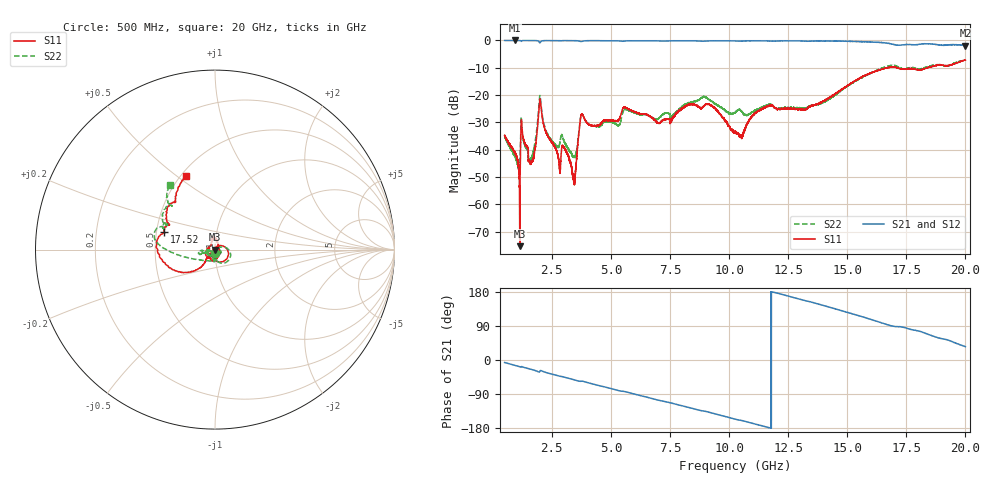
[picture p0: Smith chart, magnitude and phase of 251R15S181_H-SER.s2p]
!{251R15S181}
!Johanson Technology Inc.
!www.johansontechnology.com
!Test Board Conditions:
!Substrate Type  RO4350B
!Substrate Thickness  20 mil
!Substrate Dk  3.66
!TL Type: GCPW
!TL Trace Width  34 mil
!TL Gap  10 mil
!Electrode orientation  Horizontal
!DUT TOPOLOGY	SERIES
!Mounting Pad LxW  26x52 mil
! Created Thu Mar 12 16:55:56 2020
# mhz S ma R 50
! 2 Port Network Data from SP1.SP block
! freq  magS11  angS11  magS21  angS21  magS12  angS12  magS22  angS22
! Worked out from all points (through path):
!   19501 points, 500 MHz to 20 GHz, reference 50 ohm
!   highest |S21| = -0.01 dB at 943 MHz (marker M1); lowest = -1.9 dB at 20 GHz (marker M2)
!   group delay of S21, straight-line fit = 44.5 ps
!   lowest |S11| = -75.3 dB at 1.142 GHz (marker M3), VSWR 1.00, Z = 50 - j0.000864 ohm
!   |S11| at or under -10 dB: start of sweep to 16.69 GHz; 16.69882 GHz to 16.7006 GHz (1.776 MHz wide, 0.0106 % of centre); 17.12 GHz to 18.39 GHz (1.273 GHz wide, 7.17 % of centre) (the widest 3 of 7)
!   |S22| runs from -47.3 to -7.2 dB; largest |S21 - S12| = 0.02
!   S11 on the Smith chart (normalised r, x): 500 MHz: 0.99, -0.04; 17.52 GHz: 0.55, +0.12; 20 GHz: 0.53, +0.54
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500  0.01818 -98.6  0.9984 -6.6  0.9982 -6.6  0.01749 -93.8
943  0.008563 -116.6  0.9992 -14.0  0.9976 -14.0  0.007602 -85.0
1069  0.005794 -125.4  0.9964 -16.1  0.9972 -16.1  0.004994 -63.0
1142  0.0001721 -177.1  0.9953 -17.5  0.9948 -17.5  0.005593 -1.4
1278  0.01737 -109.6  0.9949 -18.7  0.9954 -18.7  0.0165 -90.4
1625  0.00573 154.2  0.9968 -24.7  0.9964 -24.7  0.006875 -14.8
2020  0.07384 -70.4  0.9333 -27.8  0.9331 -27.7  0.085 -63.7
2431  0.01533 -155.5  0.9949 -36.1  0.9948 -36.1  0.01587 -92.9
2797  0.005988 -173.3  0.9929 -42.1  0.9925 -42.1  0.01153 -69.8
3036  0.01062 -153.4  0.9927 -45.4  0.993 -45.5  0.01389 -98.2
3432  0.003032 -115.0  0.9919 -52.1  0.9906 -52.0  0.007417 -82.9
3750  0.04413 -81.0  0.9548 -56.0  0.955 -56.1  0.04417 -84.1
5298  0.03421 -135.3  0.9841 -80.3  0.9834 -80.3  0.02765 -167.8
5611  0.0597 -150.5  0.9776 -83.7  0.9773 -83.7  0.05496 -166.3
7000  0.03096 165.7  0.9821 -105.9  0.9821 -105.9  0.03644 -162.7
9101  0.06859 94.7  0.9789 -137.1  0.9784 -137.1  0.08575 -175.0
10250  0.02111 -13.0  0.9811 -156.0  0.9813 -156.0  0.04731 -139.0
11655  0.06219 -97.9  0.9805 -178.1  0.9795 -178.0  0.06605 -93.8
13500  0.06374 -132.4  0.9758 152.4  0.9748 152.6  0.06437 -95.7
16750  0.3207 -178.7  0.8858 92.4  0.8755 92.0  0.342 170.1
17515  0.301 160.7  0.8413 84.0  0.8401 83.9  0.3043 158.4
20000  0.4387 111.6  0.807 35.2  0.8067 35.4  0.4381 125.0
